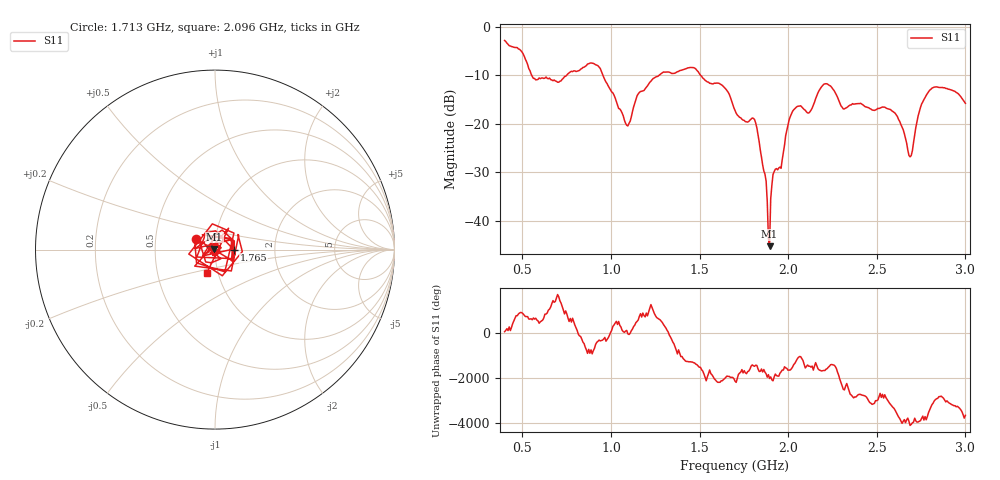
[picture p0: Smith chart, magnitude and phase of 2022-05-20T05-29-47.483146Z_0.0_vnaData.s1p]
!Created with skrf (http://scikit-rf.org).
# Hz S RI R 50.0
!freq ReS11 ImS11
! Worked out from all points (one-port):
!   401 points, 400 MHz to 3 GHz, reference 50 ohm
!   lowest |S11| = -45.2 dB at 1.895 GHz (marker M1), VSWR 1.01, Z = 49.5 + j0.298 ohm
!   |S11| at or under -10 dB: 553.3 MHz to 749.2 MHz (195.9 MHz wide, 30.1 % of centre); 954.9 MHz to 1.271 GHz (316.2 MHz wide, 28.4 % of centre); 1.507 GHz to end of sweep
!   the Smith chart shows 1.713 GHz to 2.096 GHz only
!   S11 on the Smith chart (normalised r, x): 1.713 GHz: 0.80, +0.10; 1.765 GHz: 1.23, -0.00; 2.096 GHz: 0.88, -0.24
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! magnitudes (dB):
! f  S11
! 400 MHz  -2.8
! 491 MHz  -4.9
! 569 MHz  -10.6
! 725 MHz  -10.8
! 913.5 MHz  -7.8
! 1.05 GHz  -16.9
! 1.095 GHz  -20.4
! 1.161 GHz  -13.5
! 1.375 GHz  -9.2
! 1.622 GHz  -11.9
! 1.7 GHz  -17.2
! 1.713 GHz  -18.2
! 1.765 GHz  -19.6
! 1.817 GHz  -19.8
! 1.882 GHz  -36.0
! 1.895 GHz  -45.2
! 1.921 GHz  -29.8
! 1.96 GHz  -29.1
! 2.025 GHz  -17.4
! 2.096 GHz  -17.2
! 2.213 GHz  -11.7
! 2.35 GHz  -16.1
! 2.591 GHz  -17.4
! 2.675 GHz  -25.4
! 2.695 GHz  -26.5
! 2.747 GHz  -16.6
! 2.812 GHz  -12.6
! 3 GHz  -15.7
